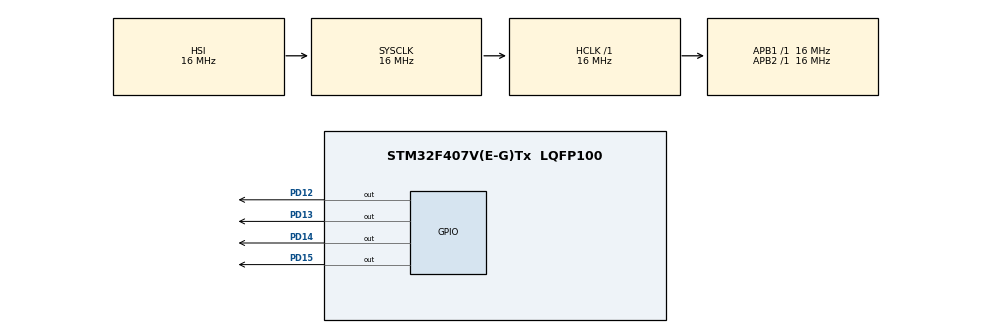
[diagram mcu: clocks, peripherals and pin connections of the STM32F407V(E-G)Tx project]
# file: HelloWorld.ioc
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Mcu.Family=STM32F4
Mcu.Name=STM32F407V(E-G)Tx
Mcu.Package=LQFP100
NVIC.PriorityGroup=NVIC_PRIORITYGROUP_4
PD12.Signal=GPIO_Output
PD13.Signal=GPIO_Output
PD14.Signal=GPIO_Output
PD15.Signal=GPIO_Output
ProjectManager.HeapSize=0x200
ProjectManager.StackSize=0x400
ProjectManager.TargetToolchain=STM32CubeIDE
RCC.AHBFreq_Value=16000000
RCC.APB1Freq_Value=16000000
RCC.APB2Freq_Value=16000000
RCC.CortexFreq_Value=16000000
RCC.HSE_VALUE=25000000
RCC.HSI_VALUE=16000000
RCC.LSE_VALUE=32768
RCC.SYSCLKFreq_VALUE=16000000
RCC.VCOOutputFreq_Value=192000000
board=custom

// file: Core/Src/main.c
/* USER CODE BEGIN Header */
/**
  ******************************************************************************
  * @file           : main.c
  * @brief          : Main program body
  ******************************************************************************
  * @attention
  *
  * Copyright (c) 2023 STMicroelectronics.
  * All rights reserved.
  *
  * This software is licensed under terms that can be found in the LICENSE file
  * in the root directory of this software component.
  * If no LICENSE file comes with this software, it is provided AS-IS.
  *
  ******************************************************************************
  */
/* USER CODE END Header */
#include "main.h"

void SystemClock_Config(void);
static void MX_GPIO_Init(void);

int main(void)
{

  /* MCU Configuration--------------------------------------------------------*/

  /* Reset of all peripherals, Initializes the Flash interface and the Systick. */
  HAL_Init();

  /* Configure the system clock */
  SystemClock_Config();

  /* Initialize all configured peripherals */
  MX_GPIO_Init();

  /* Infinite loop */
  /* USER CODE BEGIN WHILE */
  while (1)
  {
	HAL_GPIO_WritePin(GPIOD, GPIO_PIN_12, GPIO_PIN_SET);
	HAL_Delay(500);
	HAL_GPIO_WritePin(GPIOD, GPIO_PIN_12, GPIO_PIN_RESET);
	HAL_Delay(500);
	HAL_GPIO_WritePin(GPIOD, GPIO_PIN_15, GPIO_PIN_SET);
	HAL_Delay(250);
	HAL_GPIO_WritePin(GPIOD, GPIO_PIN_15, GPIO_PIN_RESET);
	HAL_Delay(250);
	HAL_GPIO_WritePin(GPIOD, GPIO_PIN_12, GPIO_PIN_SET);
	HAL_Delay(500);
	HAL_GPIO_WritePin(GPIOD, GPIO_PIN_12, GPIO_PIN_RESET);
	HAL_Delay(500);
	HAL_GPIO_WritePin(GPIOD, GPIO_PIN_13, GPIO_PIN_SET);
	HAL_Delay(300);
	HAL_GPIO_WritePin(GPIOD, GPIO_PIN_13, GPIO_PIN_RESET);
	HAL_Delay(300);
	HAL_GPIO_WritePin(GPIOD, GPIO_PIN_13, GPIO_PIN_SET);
	HAL_Delay(300);
	HAL_GPIO_WritePin(GPIOD, GPIO_PIN_13, GPIO_PIN_RESET);
	HAL_Delay(300);
	HAL_GPIO_WritePin(GPIOD, GPIO_PIN_14, GPIO_PIN_SET);
	HAL_Delay(100);
	HAL_GPIO_WritePin(GPIOD, GPIO_PIN_14, GPIO_PIN_RESET);
	HAL_Delay(100);
	HAL_GPIO_WritePin(GPIOD, GPIO_PIN_14, GPIO_PIN_SET);
	HAL_Delay(100);
	HAL_GPIO_WritePin(GPIOD, GPIO_PIN_14, GPIO_PIN_RESET);
	HAL_Delay(100);
	HAL_GPIO_WritePin(GPIOD, GPIO_PIN_14, GPIO_PIN_SET);
	HAL_Delay(100);
	HAL_GPIO_WritePin(GPIOD, GPIO_PIN_14, GPIO_PIN_RESET);
	HAL_Delay(100);
    /* USER CODE END WHILE */

  }
}

void SystemClock_Config(void)
{
  RCC_OscInitTypeDef RCC_OscInitStruct = {0};
  RCC_ClkInitTypeDef RCC_ClkInitStruct = {0};

  /** Configure the main internal regulator output voltage
  */
  __HAL_RCC_PWR_CLK_ENABLE();
  __HAL_PWR_VOLTAGESCALING_CONFIG(PWR_REGULATOR_VOLTAGE_SCALE1);

  /** Initializes the RCC Oscillators according to the specified parameters
  * in the RCC_OscInitTypeDef structure.
  */
  RCC_OscInitStruct.OscillatorType = RCC_OSCILLATORTYPE_HSI;
  RCC_OscInitStruct.HSIState = RCC_HSI_ON;
  RCC_OscInitStruct.HSICalibrationValue = RCC_HSICALIBRATION_DEFAULT;
  RCC_OscInitStruct.PLL.PLLState = RCC_PLL_NONE;
  if (HAL_RCC_OscConfig(&RCC_OscInitStruct) != HAL_OK)
  {
    Error_Handler();
  }

  /** Initializes the CPU, AHB and APB buses clocks
  */
  RCC_ClkInitStruct.ClockType = RCC_CLOCKTYPE_HCLK|RCC_CLOCKTYPE_SYSCLK
                              |RCC_CLOCKTYPE_PCLK1|RCC_CLOCKTYPE_PCLK2;
  RCC_ClkInitStruct.SYSCLKSource = RCC_SYSCLKSOURCE_HSI;
  RCC_ClkInitStruct.AHBCLKDivider = RCC_SYSCLK_DIV1;
  RCC_ClkInitStruct.APB1CLKDivider = RCC_HCLK_DIV1;
  RCC_ClkInitStruct.APB2CLKDivider = RCC_HCLK_DIV1;

  if (HAL_RCC_ClockConfig(&RCC_ClkInitStruct, FLASH_LATENCY_0) != HAL_OK)
  {
    Error_Handler();
  }
}

static void MX_GPIO_Init(void)
{
  GPIO_InitTypeDef GPIO_InitStruct = {0};

  /* GPIO Ports Clock Enable */
  __HAL_RCC_GPIOD_CLK_ENABLE();

  /*Configure GPIO pin Output Level */
  HAL_GPIO_WritePin(GPIOD, GPIO_PIN_12|GPIO_PIN_13|GPIO_PIN_14|GPIO_PIN_15, GPIO_PIN_RESET);

  /*Configure GPIO pins : PD12 PD13 PD14 PD15 */
  GPIO_InitStruct.Pin = GPIO_PIN_12|GPIO_PIN_13|GPIO_PIN_14|GPIO_PIN_15;
  GPIO_InitStruct.Mode = GPIO_MODE_OUTPUT_PP;
  GPIO_InitStruct.Pull = GPIO_NOPULL;
  GPIO_InitStruct.Speed = GPIO_SPEED_FREQ_LOW;
  HAL_GPIO_Init(GPIOD, &GPIO_InitStruct);

}

void Error_Handler(void)
{
  __disable_irq();
  while (1)
  {
  }
}
